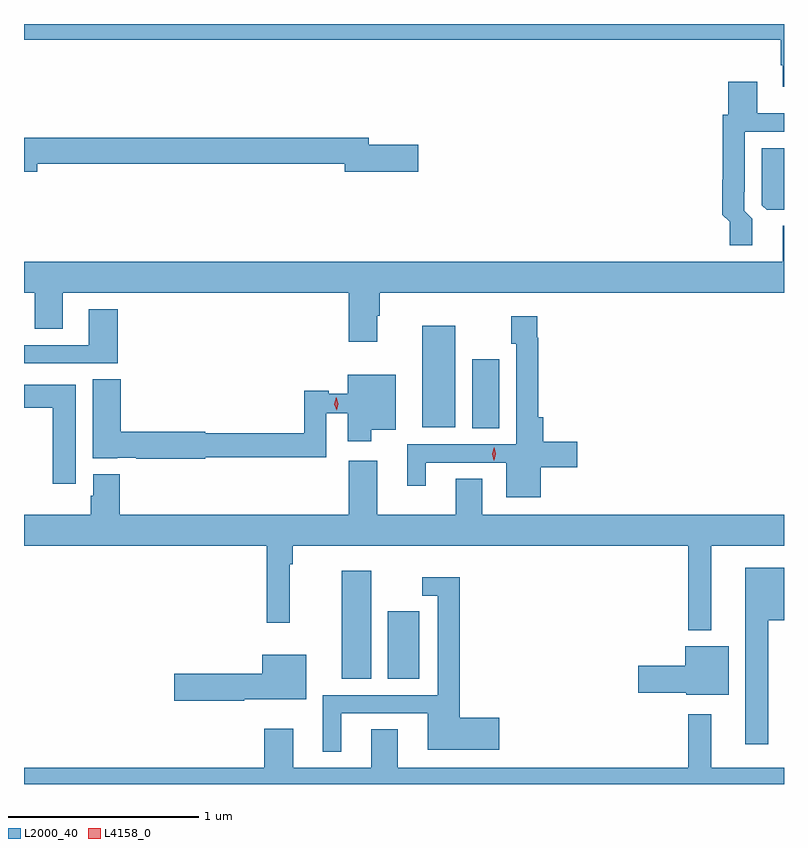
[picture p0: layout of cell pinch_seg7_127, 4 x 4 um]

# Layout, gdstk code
import gdstk
lib = gdstk.Library(unit=1e-6, precision=1e-09)
def R(c, l, rs):  # rectangles x0, y0, x1, y1
    for r in rs: c.add(gdstk.rectangle(r[:2], r[2:], *l))
def P(c, l, *ps):  # polygons
    for p in ps: c.add(gdstk.Polygon(p, *l))
L2000_40 = (2000, 40)
L4158_0 = (4158, 0)

pinch_seg7_127 = lib.new_cell('pinch_seg7_127')
R(pinch_seg7_127, L2000_40, [(914.357,1009.24,914.512,1009.81), (914.6,1009.24,914.764,1009.597), (915.044,1010.56,915.187,1010.923), (914.78,1010.564,914.956,1011.1)])
P(pinch_seg7_127, L2000_40, [(912.685,1012.604),(916.667,1012.604),(916.667,1012.471),(916.679,1012.471),(916.679,1012.356),(916.685,1012.356),(916.685,1012.687),(912.685,1012.687)],
  [(916.519,1011.662),(916.476,1011.705),(916.476,1011.805),(916.479,1011.805),(916.479,1012.119),(916.685,1012.119),(916.685,1012.216),(916.543,1012.216),(916.543,1012.384),(916.391,1012.384),(916.391,1012.209),(916.363,1012.209),(916.363,1011.866),(916.361,1011.866),(916.361,1011.684),(916.399,1011.645),(916.399,1011.522),(916.519,1011.522)],
  [(912.754,1011.952),(914.372,1011.952),(914.372,1011.91),(914.761,1011.91),(914.761,1012.052),(914.5,1012.052),(914.5,1012.088),(912.685,1012.088),(912.685,1011.91),(912.754,1011.91)],
  [(916.685,1012.034),(916.569,1012.034),(916.569,1011.732),(916.593,1011.709),(916.685,1011.709)],
  [(914.545,1011.152),(914.558,1011.152),(914.558,1011.272),(916.685,1011.272),(916.685,1011.624),(916.679,1011.624),(916.679,1011.436),(912.685,1011.436),(912.685,1011.272),(912.742,1011.272),(912.742,1011.082),(912.889,1011.082),(912.889,1011.272),(914.393,1011.272),(914.393,1011.015),(914.545,1011.015)],
  [(913.178,1011.187),(913.025,1011.187),(913.025,1010.997),(912.685,1010.997),(912.685,1010.901),(913.178,1010.901)],
  [(915.406,1010.354),(915.598,1010.354),(915.598,1010.489),(915.419,1010.489),(915.419,1010.617),(915.392,1010.617),(915.392,1011.035),(915.385,1011.035),(915.385,1011.148),(915.25,1011.148),(915.25,1011.003),(915.276,1011.003),(915.276,1010.475),(914.702,1010.475),(914.702,1010.256),(914.8,1010.256),(914.8,1010.379),(915.224,1010.379),(915.224,1010.195),(915.406,1010.195)],
  [(913.638,1010.406),(914.277,1010.406),(914.277,1010.638),(914.39,1010.638),(914.39,1010.49),(914.512,1010.49),(914.512,1010.552),(914.641,1010.552),(914.641,1010.842),(914.39,1010.842),(914.39,1010.741),(914.289,1010.741),(914.289,1010.756),(914.161,1010.756),(914.161,1010.534),(913.638,1010.534),(913.638,1010.54),(913.193,1010.54),(913.193,1010.816),(913.046,1010.816),(913.046,1010.402),(913.176,1010.402),(913.176,1010.405),(913.276,1010.405),(913.276,1010.398),(913.638,1010.398)],
  [(912.958,1010.788),(912.685,1010.788),(912.685,1010.666),(912.836,1010.666),(912.836,1010.268),(912.958,1010.268)],
  [(916.303,1009.94),(916.685,1009.94),(916.685,1010.104),(915.097,1010.104),(915.097,1010.294),(914.957,1010.294),(914.957,1010.104),(914.545,1010.104),(914.545,1010.389),(914.393,1010.389),(914.393,1010.104),(913.19,1010.104),(913.19,1010.317),(913.049,1010.317),(913.049,1010.205),(913.037,1010.205),(913.037,1010.104),(912.685,1010.104),(912.685,1009.94),(913.963,1009.94),(913.963,1009.536),(914.084,1009.536),(914.084,1009.844),(914.099,1009.844),(914.099,1009.94),(916.182,1009.94),(916.182,1009.496),(916.303,1009.496)],
  [(916.603,1009.55),(916.685,1009.55),(916.685,1009.825),(916.481,1009.825),(916.481,1008.897),(916.603,1008.897)],
  [(914.356,1009.059),(914.81,1009.059),(914.81,1008.866),(915.187,1008.866),(915.187,1009.037),(914.978,1009.037),(914.978,1009.774),(914.781,1009.774),(914.781,1009.677),(914.862,1009.677),(914.862,1009.155),(914.258,1009.155),(914.258,1008.858),(914.356,1008.858)],
  [(916.393,1009.411),(916.166,1009.411),(916.166,1009.31),(915.918,1009.31),(915.918,1009.168),(916.17,1009.168),(916.17,1009.157),(916.393,1009.157)],
  [(913.844,1009.133),(914.17,1009.133),(914.17,1009.366),(913.94,1009.366),(913.94,1009.268),(913.476,1009.268),(913.476,1009.126),(913.844,1009.126)],
  [(914.513,1008.772),(914.101,1008.772),(914.101,1008.979),(913.949,1008.979),(913.949,1008.772),(912.685,1008.772),(912.685,1008.687),(916.685,1008.687),(916.685,1008.772),(916.303,1008.772),(916.303,1009.054),(916.182,1009.054),(916.182,1008.772),(914.653,1008.772),(914.653,1008.974),(914.513,1008.974)])
P(pinch_seg7_127, L4158_0, [(915.158,1010.39),(915.158,1010.39),(915.149,1010.425),(915.159,1010.46),(915.159,1010.46),(915.159,1010.46),(915.169,1010.425),(915.159,1010.39)],
  [(914.33,1010.653),(914.319,1010.687),(914.328,1010.722),(914.328,1010.722),(914.328,1010.722),(914.339,1010.688),(914.331,1010.653),(914.331,1010.653)])

lib.write_gds('pinch_seg7_127.gds')
